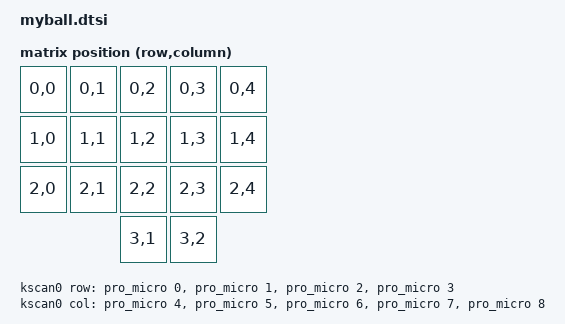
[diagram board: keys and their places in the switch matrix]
/*
 * myball.dtsi
 * 左右で共通のキーマトリクス定義(3行 x 5列 + 親指2キー = 片側17キー)
 *
 * ★ 重要 ★
 * row-gpios / col-gpios のピン番号は「仮の値」です。
 * 実際の配線(どのマイコンピンがどの行/列に繋がっているか)に
 * 合わせて必ず書き換えてください。
 *
 * ここでは nice!nano の Pro Micro 互換ピン番号(0〜21)で
 * 指定する書き方を使っています。
 *   例: &pro_micro 1  は Pro Micro でいうピン「1」に相当
 */

#include <dt-bindings/zmk/matrix_transform.h>

/ {
    chosen {
        zmk,kscan = &kscan0;
        zmk,matrix-transform = &default_transform;
    };

    default_transform: keymap_transform_0 {
        compatible = "zmk,matrix-transform";
        columns = <5>;
        rows = <4>;

        map = <
RC(0,0) RC(0,1) RC(0,2) RC(0,3) RC(0,4)
RC(1,0) RC(1,1) RC(1,2) RC(1,3) RC(1,4)
RC(2,0) RC(2,1) RC(2,2) RC(2,3) RC(2,4)
                RC(3,1) RC(3,2)
        >;
    };

    kscan0: kscan0 {
        compatible = "zmk,kscan-gpio-matrix";
        diode-direction = "col2row";

        // ---- 行 (4行) : ここを実配線に合わせて変更 ----
        row-gpios
            = <&pro_micro 0 GPIO_ACTIVE_HIGH>
            , <&pro_micro 1 GPIO_ACTIVE_HIGH>
            , <&pro_micro 2 GPIO_ACTIVE_HIGH>
            , <&pro_micro 3 GPIO_ACTIVE_HIGH>
            ;

        // ---- 列 (5列) : ここを実配線に合わせて変更 ----
        col-gpios
            = <&pro_micro 4 GPIO_ACTIVE_HIGH>
            , <&pro_micro 5 GPIO_ACTIVE_HIGH>
            , <&pro_micro 6 GPIO_ACTIVE_HIGH>
            , <&pro_micro 7 GPIO_ACTIVE_HIGH>
            , <&pro_micro 8 GPIO_ACTIVE_HIGH>
            ;
    };
};
